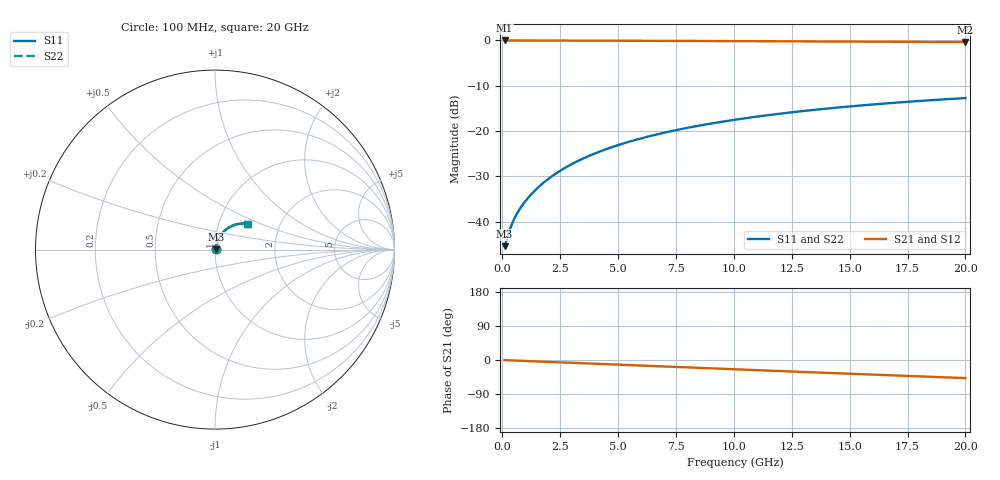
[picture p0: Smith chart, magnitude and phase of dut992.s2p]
! Touchstone file exported from HFSS 2026.1.0
!  File:  C:/ffzhzh/LocalFiles/Ansys_Project_Files/temp_train_TMRDL_992_1783159381_18472.aedt
!  Generated:  06:04:10 PM Jul  4, 2026
!  Design:  TMRDL
!  Project:  temp_train_TMRDL_992_1783159381_18472
! Variables:
!  h_bsmrdl = 2um
!  h_ox = 20um
!  h_rdl = 5um
!  h_sub = 80um
!  h_tmrdl = 2.56um
!  h_tsv = 80um
!  h_via = 3um
!  l_bsmrdl = 300um
!  l_sub = 1208.1um
!  l_tmrdl = 808.1um
!  m_sub = 200um
!  pitch = 33.25um
!  r_tsv = 6um
!  s_tmrdl = 10um
!  w_bsmrdl = 18um
!  w_sub = 500um
!  w_tmrdl = 23.56um
!  x_tsv_center1 = 819.88um
!  x_tsv_center2 = 1137.88um
!  x_tsv_center3 = 1969.54um
!  x_tsv_center4 = 2287.54um
!  x_tsv_center5 = 3119.2um
!  x_tsv_center6 = 3437.2um
# GHz S MA R 50.000000
! Terminal data exported
! Port[1] = TM_RDL1_1_T1
! Port[2] = TM_RDL1_1_T2
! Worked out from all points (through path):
!   200 points, 100 MHz to 20 GHz, reference 50 ohm
!   highest |S21| = -0.04 dB at 100 MHz (marker M1); lowest = -0.4 dB at 20 GHz (marker M2)
!   group delay of S21, straight-line fit = 6.63 ps
!   lowest |S11| = -45.4 dB at 100 MHz (marker M3), VSWR 1.01, Z = 50.5 + j0.193 ohm
!   |S11| at or under -10 dB: start of sweep to end of sweep
!   |S22| runs from -45.4 to -12.7 dB; largest |S21 - S12| = 2.8e-15
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0.1  0.005372 20.9  0.995 -0.3  0.995 -0.3  0.005372 20.9
! Gamma 0 0 0 0
! Port Impedance 50 0 50 0
0.3  0.007841 43.4  0.9944 -0.8  0.9944 -0.8  0.007841 43.4
0.4  0.00922 48.6  0.994 -1.1  0.994 -1.1  0.00922 48.6
0.5  0.01056 52.1  0.9937 -1.3  0.9937 -1.3  0.01056 52.1
0.6  0.01185 54.8  0.9934 -1.6  0.9934 -1.6  0.01185 54.8
0.8  0.01437 59.0  0.993 -2.1  0.993 -2.1  0.01437 59.0
1  0.01686 62.1  0.9927 -2.5  0.9927 -2.5  0.01687 62.1
1.2  0.01938 64.5  0.9924 -3.0  0.9924 -3.0  0.01939 64.5
1.7  0.02582 68.4  0.992 -4.3  0.992 -4.3  0.02583 68.3
2.2  0.03242 70.4  0.9916 -5.5  0.9916 -5.5  0.03243 70.3
2.8  0.04045 71.4  0.991 -7.0  0.991 -7.0  0.04046 71.3
3.5  0.04985 71.6  0.9903 -8.7  0.9903 -8.7  0.04987 71.5
4.2  0.05923 71.1  0.9895 -10.4  0.9895 -10.4  0.05926 71.0
5  0.06987 70.1  0.9884 -12.4  0.9884 -12.4  0.0699 70.0
5.9  0.08168 68.7  0.987 -14.6  0.987 -14.6  0.08172 68.6
6.8  0.09328 67.0  0.9854 -16.8  0.9854 -16.8  0.09333 66.9
8.3  0.1121 64.0  0.9825 -20.4  0.9825 -20.4  0.1121 63.8
10.1  0.1336 60.1  0.9787 -24.7  0.9787 -24.7  0.1337 59.9
11.7  0.1519 56.6  0.975 -28.5  0.975 -28.5  0.152 56.4
13.4  0.1702 52.9  0.971 -32.5  0.971 -32.5  0.1703 52.6
16.7  0.2025 45.6  0.9632 -40.2  0.9632 -40.2  0.2027 45.2
20  0.2304 38.4  0.9557 -47.8  0.9557 -47.8  0.2308 38.0
